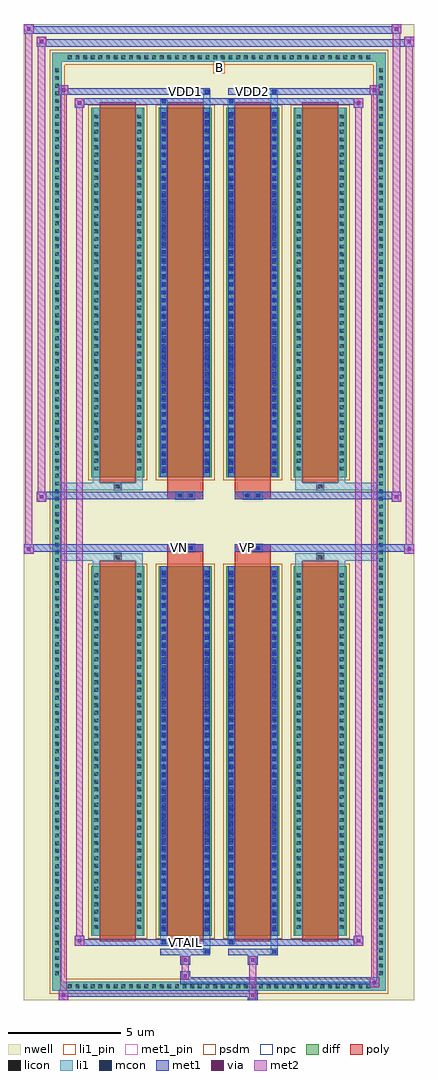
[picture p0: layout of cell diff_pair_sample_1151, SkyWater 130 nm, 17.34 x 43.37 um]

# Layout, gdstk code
import gdstk
lib = gdstk.Library(unit=1e-6, precision=5e-09)
def R(c, l, rs):  # rectangles x0, y0, x1, y1
    for r in rs: c.add(gdstk.rectangle(r[:2], r[2:], *l))
def A(c, l, x, y, w, h, nx, ny, dx, dy):  # array of equal rectangles
    R(c, l, [(x+i*dx, y+j*dy, x+i*dx+w, y+j*dy+h) for i in range(nx) for j in range(ny)])
def P(c, l, *ps):  # polygons
    for p in ps: c.add(gdstk.Polygon(p, *l))
nwell = (64, 20)
diff = (65, 20)
poly = (66, 20)
licon = (66, 44)
li1_pin = (67, 16)
li1 = (67, 20)
mcon = (67, 44)
met1_pin = (68, 16)
met1 = (68, 20)
via = (68, 44)
met2 = (69, 20)
psdm = (94, 20)
npc = (95, 20)

diff_pair_sample_1151 = lib.new_cell('diff_pair_sample_1151')
R(diff_pair_sample_1151, nwell, [(-8.67,-21.25,8.67,22.12), (-5.99,-19.44,-0.01,-0.8), (0.01,-19.44,5.99,-0.8), (-5.99,0.8,-0.01,19.44), (0.01,0.8,5.99,19.44)])
A(diff_pair_sample_1151, diff, -6.835, -20.85, 0.41, 0.41, 40, 2, 0.34, 41.29)
A(diff_pair_sample_1151, diff, -7.4, -20.265, 0.41, 0.41, 1, 119, 0, 0.34)
A(diff_pair_sample_1151, diff, 6.99, -20.265, 0.41, 0.41, 1, 119, 0, 0.34)
A(diff_pair_sample_1151, diff, -5.68, -18.395, 2.36, 16.41, 4, 2, 3, 20.38)
R(diff_pair_sample_1151, diff, [(-6.835,-20.85,6.835,-20.44), (-7.4,-20.265,-6.99,20.265), (6.99,-20.265,7.4,20.265), (-6.835,20.44,6.835,20.85)])
P(diff_pair_sample_1151, diff, [(7.4,20.85),(-7.4,20.85),(-7.4,-20.44),(-6.99,-20.44),(-6.99,20.44),(6.99,20.44),(6.99,-20.44),(-6.99,-20.44),(-7.4,-20.44),(-7.4,-20.85),(7.4,-20.85)])
A(diff_pair_sample_1151, poly, -5.29, -18.645, 1.58, 16.91, 4, 2, 3, 20.38)
R(diff_pair_sample_1151, poly, [(-4.665,-1.735,-4.335,-1.405), (-4.665,-1.735,-4.335,-1.405), (-2.29,-1.735,-0.71,-1.33), (0.71,-1.735,2.29,-1.33), (4.335,-1.735,4.665,-1.405), (4.335,-1.735,4.665,-1.405), (-2.29,-1.33,-0.71,-1), (-1.915,-1.33,-1.585,-1), (-1.415,-1.33,-1.085,-1), (0.71,-1.33,2.29,-1), (1.085,-1.33,1.415,-1), (1.585,-1.33,1.915,-1), (-2.29,1,-0.71,1.33), (-1.915,1,-1.585,1.33), (-1.415,1,-1.085,1.33), (0.71,1,2.29,1.33), (1.085,1,1.415,1.33), (1.585,1,1.915,1.33), (-2.29,1.33,-0.71,1.735), (0.71,1.33,2.29,1.735), (-4.665,1.405,-4.335,1.735), (-4.665,1.405,-4.335,1.735), (4.335,1.405,4.665,1.735), (4.335,1.405,4.665,1.735)])
A(diff_pair_sample_1151, licon, -6.715, -20.73, 0.17, 0.17, 40, 2, 0.34, 41.29)
A(diff_pair_sample_1151, licon, -7.28, -20.145, 0.17, 0.17, 1, 119, 0, 0.34)
A(diff_pair_sample_1151, licon, 7.11, -20.145, 0.17, 0.17, 1, 119, 0, 0.34)
A(diff_pair_sample_1151, licon, -5.54, -18.095, 0.17, 0.17, 1, 47, 0, 0.34)
A(diff_pair_sample_1151, licon, -3.63, -18.095, 0.17, 0.17, 1, 47, 0, 0.34)
A(diff_pair_sample_1151, licon, -2.54, -18.095, 0.17, 0.17, 1, 47, 0, 0.34)
A(diff_pair_sample_1151, licon, -0.63, -18.095, 0.17, 0.17, 1, 47, 0, 0.34)
A(diff_pair_sample_1151, licon, 0.46, -18.095, 0.17, 0.17, 1, 47, 0, 0.34)
A(diff_pair_sample_1151, licon, 2.37, -18.095, 0.17, 0.17, 1, 47, 0, 0.34)
A(diff_pair_sample_1151, licon, 3.46, -18.095, 0.17, 0.17, 1, 47, 0, 0.34)
A(diff_pair_sample_1151, licon, 5.37, -18.095, 0.17, 0.17, 1, 47, 0, 0.34)
A(diff_pair_sample_1151, licon, -5.54, 2.285, 0.17, 0.17, 1, 47, 0, 0.34)
A(diff_pair_sample_1151, licon, -3.63, 2.285, 0.17, 0.17, 1, 47, 0, 0.34)
A(diff_pair_sample_1151, licon, -2.54, 2.285, 0.17, 0.17, 1, 47, 0, 0.34)
A(diff_pair_sample_1151, licon, -0.63, 2.285, 0.17, 0.17, 1, 47, 0, 0.34)
A(diff_pair_sample_1151, licon, 0.46, 2.285, 0.17, 0.17, 1, 47, 0, 0.34)
A(diff_pair_sample_1151, licon, 2.37, 2.285, 0.17, 0.17, 1, 47, 0, 0.34)
A(diff_pair_sample_1151, licon, 3.46, 2.285, 0.17, 0.17, 1, 47, 0, 0.34)
A(diff_pair_sample_1151, licon, 5.37, 2.285, 0.17, 0.17, 1, 47, 0, 0.34)
R(diff_pair_sample_1151, licon, [(-4.585,-1.655,-4.415,-1.485), (4.415,-1.655,4.585,-1.485), (-1.835,-1.25,-1.665,-1.08), (-1.335,-1.25,-1.165,-1.08), (1.165,-1.25,1.335,-1.08), (1.665,-1.25,1.835,-1.08), (-1.835,1.08,-1.665,1.25), (-1.335,1.08,-1.165,1.25), (1.165,1.08,1.335,1.25), (1.665,1.08,1.835,1.25), (-4.585,1.485,-4.415,1.655), (4.415,1.485,4.585,1.655)])
R(diff_pair_sample_1151, li1_pin, [(-0.25,19.94,0.25,20.44)])
A(diff_pair_sample_1151, li1, -6.795, -20.81, 0.33, 0.33, 40, 2, 0.34, 41.29)
A(diff_pair_sample_1151, li1, -7.36, -20.225, 0.33, 0.33, 1, 119, 0, 0.34)
A(diff_pair_sample_1151, li1, 7.03, -20.225, 0.33, 0.33, 1, 119, 0, 0.34)
A(diff_pair_sample_1151, li1, -2.54, -18.195, 0.17, 0.17, 1, 45, 0, 0.36)
A(diff_pair_sample_1151, li1, -0.63, -18.195, 0.17, 0.17, 1, 45, 0, 0.36)
A(diff_pair_sample_1151, li1, 0.46, -18.195, 0.17, 0.17, 1, 45, 0, 0.36)
A(diff_pair_sample_1151, li1, 2.37, -18.195, 0.17, 0.17, 1, 45, 0, 0.36)
A(diff_pair_sample_1151, li1, -5.62, -18.175, 0.33, 0.33, 1, 47, 0, 0.34)
A(diff_pair_sample_1151, li1, -3.71, -18.175, 0.33, 0.33, 1, 47, 0, 0.34)
A(diff_pair_sample_1151, li1, -2.62, -18.175, 0.33, 0.33, 1, 47, 0, 0.34)
A(diff_pair_sample_1151, li1, -0.71, -18.175, 0.33, 0.33, 1, 47, 0, 0.34)
A(diff_pair_sample_1151, li1, 0.38, -18.175, 0.33, 0.33, 1, 47, 0, 0.34)
A(diff_pair_sample_1151, li1, 2.29, -18.175, 0.33, 0.33, 1, 47, 0, 0.34)
A(diff_pair_sample_1151, li1, 3.38, -18.175, 0.33, 0.33, 1, 47, 0, 0.34)
A(diff_pair_sample_1151, li1, 5.29, -18.175, 0.33, 0.33, 1, 47, 0, 0.34)
A(diff_pair_sample_1151, li1, -2.54, 2.185, 0.17, 0.17, 1, 45, 0, 0.36)
A(diff_pair_sample_1151, li1, -0.63, 2.185, 0.17, 0.17, 1, 45, 0, 0.36)
A(diff_pair_sample_1151, li1, 0.46, 2.185, 0.17, 0.17, 1, 45, 0, 0.36)
A(diff_pair_sample_1151, li1, 2.37, 2.185, 0.17, 0.17, 1, 45, 0, 0.36)
A(diff_pair_sample_1151, li1, -5.62, 2.205, 0.33, 0.33, 1, 47, 0, 0.34)
A(diff_pair_sample_1151, li1, -3.71, 2.205, 0.33, 0.33, 1, 47, 0, 0.34)
A(diff_pair_sample_1151, li1, -2.62, 2.205, 0.33, 0.33, 1, 47, 0, 0.34)
A(diff_pair_sample_1151, li1, -0.71, 2.205, 0.33, 0.33, 1, 47, 0, 0.34)
A(diff_pair_sample_1151, li1, 0.38, 2.205, 0.33, 0.33, 1, 47, 0, 0.34)
A(diff_pair_sample_1151, li1, 2.29, 2.205, 0.33, 0.33, 1, 47, 0, 0.34)
A(diff_pair_sample_1151, li1, 3.38, 2.205, 0.33, 0.33, 1, 47, 0, 0.34)
A(diff_pair_sample_1151, li1, 5.29, 2.205, 0.33, 0.33, 1, 47, 0, 0.34)
R(diff_pair_sample_1151, li1, [(-7.4,-20.85,-6.99,-20.44), (-7.4,-20.85,-6.99,-20.44), (-6.99,-20.85,6.99,-20.44), (6.99,-20.85,7.4,-20.44), (6.99,-20.85,7.4,-20.44), (-7.4,-20.44,-6.99,20.44), (6.99,-20.44,7.4,20.44), (-0.71,-19.2,-0.38,-18.395), (-0.63,-19.2,-0.46,-19.03), (2.29,-19.2,2.62,-18.395), (2.37,-19.2,2.54,-19.03), (-2.62,-18.77,-2.29,-18.395), (-2.54,-18.77,-2.37,-18.6), (0.38,-18.77,0.71,-18.395), (0.46,-18.77,0.63,-18.6), (-5.62,-18.395,-5.29,-1.985), (-3.71,-18.395,-3.38,-1.985), (-2.62,-18.395,-2.29,-1.985), (-0.71,-18.395,-0.38,-1.985), (0.38,-18.395,0.71,-1.985), (2.29,-18.395,2.62,-1.985), (3.38,-18.395,3.71,-1.985), (5.29,-18.395,5.62,-1.985), (-2.54,-18.195,-2.37,-2.185), (-0.63,-18.195,-0.46,-2.185), (0.46,-18.195,0.63,-2.185), (2.37,-18.195,2.54,-2.185), (-5.62,-1.985,-5.29,-1.405), (-3.71,-1.985,-3.38,-1.405), (3.38,-1.985,3.71,-1.405), (5.29,-1.985,5.62,-1.405), (-7.4,-1.735,-4.665,-1.405), (-5.62,-1.735,-4.665,-1.405), (-4.665,-1.735,-4.335,-1.405), (-4.335,-1.735,-3.38,-1.405), (3.38,-1.735,4.335,-1.405), (4.335,-1.735,4.665,-1.405), (4.335,-1.735,7.4,-1.405), (4.665,-1.735,5.62,-1.405), (-1.915,-1.33,-1.585,-1), (-1.415,-1.33,-1.085,-1), (1.085,-1.33,1.415,-1), (1.585,-1.33,1.915,-1), (-1.915,1,-1.585,1.33), (-1.415,1,-1.085,1.33), (1.085,1,1.415,1.33), (1.585,1,1.915,1.33), (-7.4,1.405,-4.665,1.735), (-5.62,1.405,-4.665,1.735), (-5.62,1.405,-5.29,1.985), (-4.665,1.405,-4.335,1.735), (-4.335,1.405,-3.38,1.735), (-3.71,1.405,-3.38,1.985), (3.38,1.405,4.335,1.735), (3.38,1.405,3.71,1.985), (4.335,1.405,4.665,1.735), (4.335,1.405,7.4,1.735), (4.665,1.405,5.62,1.735), (5.29,1.405,5.62,1.985), (-5.62,1.985,-5.29,18.395), (-3.71,1.985,-3.38,18.395), (-2.62,1.985,-2.29,18.395), (-0.71,1.985,-0.38,18.395), (0.38,1.985,0.71,18.395), (2.29,1.985,2.62,18.395), (3.38,1.985,3.71,18.395), (5.29,1.985,5.62,18.395), (-2.54,2.185,-2.37,18.195), (-0.63,2.185,-0.46,18.195), (0.46,2.185,0.63,18.195), (2.37,2.185,2.54,18.195), (-2.62,18.395,-2.29,18.77), (-0.71,18.395,-0.38,19.2), (0.38,18.395,0.71,18.77), (2.29,18.395,2.62,19.2), (-2.54,18.6,-2.37,18.77), (0.46,18.6,0.63,18.77), (-0.63,19.03,-0.46,19.2), (2.37,19.03,2.54,19.2), (-7.4,20.44,-6.99,20.85), (-7.4,20.44,-6.99,20.85), (-6.99,20.44,6.99,20.85), (6.99,20.44,7.4,20.85), (6.99,20.44,7.4,20.85)])
A(diff_pair_sample_1151, mcon, -2.54, -18.195, 0.17, 0.17, 1, 45, 0, 0.36)
A(diff_pair_sample_1151, mcon, -0.63, -18.195, 0.17, 0.17, 1, 45, 0, 0.36)
A(diff_pair_sample_1151, mcon, 0.46, -18.195, 0.17, 0.17, 1, 45, 0, 0.36)
A(diff_pair_sample_1151, mcon, 2.37, -18.195, 0.17, 0.17, 1, 45, 0, 0.36)
A(diff_pair_sample_1151, mcon, -2.54, 2.185, 0.17, 0.17, 1, 45, 0, 0.36)
A(diff_pair_sample_1151, mcon, -0.63, 2.185, 0.17, 0.17, 1, 45, 0, 0.36)
A(diff_pair_sample_1151, mcon, 0.46, 2.185, 0.17, 0.17, 1, 45, 0, 0.36)
A(diff_pair_sample_1151, mcon, 2.37, 2.185, 0.17, 0.17, 1, 45, 0, 0.36)
R(diff_pair_sample_1151, mcon, [(-0.63,-19.2,-0.46,-19.03), (2.37,-19.2,2.54,-19.03), (-2.54,-18.77,-2.37,-18.6), (0.46,-18.77,0.63,-18.6), (-1.835,-1.25,-1.665,-1.08), (-1.335,-1.25,-1.165,-1.08), (1.165,-1.25,1.335,-1.08), (1.665,-1.25,1.835,-1.08), (-1.835,1.08,-1.665,1.25), (-1.335,1.08,-1.165,1.25), (1.165,1.08,1.335,1.25), (1.665,1.08,1.835,1.25), (-2.54,18.6,-2.37,18.77), (0.46,18.6,0.63,18.77), (-0.63,19.03,-0.46,19.2), (2.37,19.03,2.54,19.2)])
R(diff_pair_sample_1151, met1_pin, [(-1.635,-18.81,-1.365,-18.54), (-1.885,-1.29,-1.615,-1.02), (1.115,-1.29,1.385,-1.02), (-1.635,18.99,-1.365,19.26), (1.365,18.99,1.635,19.26)])
A(diff_pair_sample_1151, met1, -2.6, -18.255, 0.29, 0.29, 1, 45, 0, 0.36)
A(diff_pair_sample_1151, met1, -0.69, -18.255, 0.29, 0.29, 1, 45, 0, 0.36)
A(diff_pair_sample_1151, met1, 0.4, -18.255, 0.29, 0.29, 1, 45, 0, 0.36)
A(diff_pair_sample_1151, met1, 2.31, -18.255, 0.29, 0.29, 1, 45, 0, 0.36)
A(diff_pair_sample_1151, met1, -2.6, 2.125, 0.29, 0.29, 1, 45, 0, 0.36)
A(diff_pair_sample_1151, met1, -0.69, 2.125, 0.29, 0.29, 1, 45, 0, 0.36)
A(diff_pair_sample_1151, met1, 0.4, 2.125, 0.29, 0.29, 1, 45, 0, 0.36)
A(diff_pair_sample_1151, met1, 2.31, 2.125, 0.29, 0.29, 1, 45, 0, 0.36)
R(diff_pair_sample_1151, met1, [(-7.13,-21.25,-6.7,-20.82), (1.285,-21.25,1.715,-20.82), (-7.13,-21.11,1.715,-20.82), (6.7,-20.68,7.13,-20.25), (-1.715,-20.54,7.13,-20.25), (-1.715,-20.4,-1.285,-19.97), (-1.715,-19.69,-1.285,-19.26), (1.285,-19.69,1.715,-19.26), (-2.6,-19.26,-0.4,-18.97), (-0.69,-19.26,-0.4,-18.97), (0.4,-19.26,2.6,-18.97), (2.31,-19.26,2.6,-18.97), (-6.42,-18.83,-5.99,-18.4), (-6.42,-18.83,-2.6,-18.54), (-2.6,-18.83,-2.31,-18.54), (-2.6,-18.83,-0.4,-18.54), (-0.4,-18.83,0.4,-18.54), (0.4,-18.83,0.69,-18.54), (0.4,-18.83,2.6,-18.54), (2.6,-18.83,6.42,-18.54), (5.99,-18.83,6.42,-18.4), (-2.6,-18.395,-2.31,-1.985), (-0.69,-18.395,-0.4,-1.985), (0.4,-18.395,0.69,-1.985), (2.31,-18.395,2.6,-1.985), (-8.67,-1.43,-8.24,-1), (8.24,-1.43,8.67,-1), (-8.67,-1.33,-0.71,-1), (-2.29,-1.33,-0.71,-1), (0.71,-1.33,2.29,-1), (0.71,-1.33,8.67,-1), (-1.895,-1.31,-1.605,-1.02), (-1.395,-1.31,-1.105,-1.02), (1.105,-1.31,1.395,-1.02), (1.605,-1.31,1.895,-1.02), (-8.1,0.9,-7.67,1.33), (7.67,0.9,8.1,1.33), (-8.1,1,-2.29,1.33), (-2.29,1,-0.71,1.33), (0.71,1,2.29,1.33), (2.29,1,8.1,1.33), (-1.895,1.02,-1.605,1.31), (-1.395,1.02,-1.105,1.31), (1.105,1.02,1.395,1.31), (1.605,1.02,1.895,1.31), (-2.6,1.985,-2.31,18.395), (-0.69,1.985,-0.4,18.395), (0.4,1.985,0.69,18.395), (2.31,1.985,2.6,18.395), (-6.42,18.4,-5.99,18.83), (5.99,18.4,6.42,18.83), (-6.42,18.54,-2.6,18.83), (-2.6,18.54,-2.31,18.83), (-2.6,18.54,-0.4,18.83), (-0.4,18.54,0.4,18.83), (0.4,18.54,0.69,18.83), (0.4,18.54,2.6,18.83), (2.6,18.54,6.42,18.83), (-7.13,18.97,-6.7,19.4), (-7.13,18.97,-2.6,19.26), (-2.6,18.97,-0.4,19.26), (-0.69,18.97,-0.4,19.26), (0.4,18.97,2.6,19.26), (2.31,18.97,2.6,19.26), (2.6,18.97,7.13,19.26), (6.7,18.97,7.13,19.4), (-8.1,21.12,-7.67,21.55), (-8.1,21.12,-5.99,21.45), (-5.99,21.12,5.99,21.45), (5.99,21.12,8.67,21.45), (8.24,21.12,8.67,21.55), (-8.67,21.69,-8.24,22.12), (-8.67,21.69,-5.99,22.02), (-5.99,21.69,5.99,22.02), (5.99,21.69,8.1,22.02), (7.67,21.69,8.1,22.12)])
R(diff_pair_sample_1151, via, [(-6.99,-21.11,-6.84,-20.96), (1.425,-21.11,1.575,-20.96), (6.84,-20.54,6.99,-20.39), (-1.575,-20.26,-1.425,-20.11), (-1.575,-19.55,-1.425,-19.4), (1.425,-19.55,1.575,-19.4), (-6.28,-18.69,-6.13,-18.54), (6.13,-18.69,6.28,-18.54), (-8.53,-1.29,-8.38,-1.14), (8.38,-1.29,8.53,-1.14), (-7.96,1.04,-7.81,1.19), (7.81,1.04,7.96,1.19), (-6.28,18.54,-6.13,18.69), (6.13,18.54,6.28,18.69), (-6.99,19.11,-6.84,19.26), (6.84,19.11,6.99,19.26), (-7.96,21.26,-7.81,21.41), (8.38,21.26,8.53,21.41), (-8.53,21.83,-8.38,21.98), (7.81,21.83,7.96,21.98)])
R(diff_pair_sample_1151, met2, [(-7.13,-21.25,-6.7,-20.82), (-7.06,-21.25,-6.77,19.4), (-6.77,-21.25,-6.7,-20.82), (-7.08,-21.2,-6.75,-20.87), (1.335,-21.2,1.665,-20.87), (1.335,-20.87,1.665,-19.64), (6.7,-20.68,7.13,-20.25), (6.77,-20.68,7.06,19.4), (7.06,-20.68,7.13,-20.25), (6.75,-20.63,7.08,-20.3), (-1.665,-20.35,-1.335,-20.02), (-1.665,-20.02,-1.335,-19.64), (-1.665,-19.64,-1.335,-19.31), (1.335,-19.64,1.665,-19.31), (-6.42,-18.83,-5.99,-18.4), (-6.35,-18.83,-6.06,18.83), (-6.06,-18.83,-5.99,-18.4), (5.99,-18.83,6.42,-18.4), (6.06,-18.83,6.35,18.83), (6.35,-18.83,6.42,-18.4), (-6.37,-18.78,-6.04,-18.45), (6.04,-18.78,6.37,-18.45), (-8.67,-1.43,-8.24,-1), (-8.62,-1.43,-8.29,22.12), (-8.29,-1.43,-8.24,-1), (8.24,-1.43,8.67,-1), (8.29,-1.43,8.62,21.55), (8.62,-1.43,8.67,-1), (-8.62,-1.38,-8.29,-1.05), (8.29,-1.38,8.62,-1.05), (-8.1,0.9,-7.67,1.33), (-8.05,0.9,-7.72,21.55), (-7.72,0.9,-7.67,1.33), (7.67,0.9,8.1,1.33), (7.72,0.9,8.05,22.12), (8.05,0.9,8.1,1.33), (-8.05,0.95,-7.72,1.28), (7.72,0.95,8.05,1.28), (-6.42,18.4,-5.99,18.83), (-6.06,18.4,-5.99,18.83), (5.99,18.4,6.42,18.83), (6.35,18.4,6.42,18.83), (-6.37,18.45,-6.04,18.78), (6.04,18.45,6.37,18.78), (-7.13,18.97,-6.7,19.4), (-6.77,18.97,-6.7,19.4), (6.7,18.97,7.13,19.4), (7.06,18.97,7.13,19.4), (-7.08,19.02,-6.75,19.35), (6.75,19.02,7.08,19.35), (-8.1,21.12,-7.67,21.55), (-7.72,21.12,-7.67,21.55), (8.24,21.12,8.67,21.55), (8.62,21.12,8.67,21.55), (-8.05,21.17,-7.72,21.5), (8.29,21.17,8.62,21.5), (-8.67,21.69,-8.24,22.12), (-8.29,21.69,-8.24,22.12), (7.67,21.69,8.1,22.12), (8.05,21.69,8.1,22.12), (-8.62,21.74,-8.29,22.07), (7.72,21.74,8.05,22.07)])
A(diff_pair_sample_1151, psdm, -5.81, -18.525, 2.62, 16.67, 4, 2, 3, 20.38)
P(diff_pair_sample_1151, psdm, [(7.53,20.98),(-7.53,20.98),(-7.53,-20.31),(-6.86,-20.31),(-6.86,20.31),(6.86,20.31),(6.86,-20.31),(-6.86,-20.31),(-7.53,-20.31),(-7.53,-20.98),(7.53,-20.98)])
R(diff_pair_sample_1151, npc, [(-4.685,-1.755,-4.315,-1.385), (4.315,-1.755,4.685,-1.385), (-1.935,-1.35,-1.565,-0.98), (-1.935,-1.35,-1.065,-0.98), (-1.935,-1.35,-1.065,-0.98), (-1.435,-1.35,-1.065,-0.98), (1.065,-1.35,1.435,-0.98), (1.065,-1.35,1.935,-0.98), (1.065,-1.35,1.935,-0.98), (1.565,-1.35,1.935,-0.98), (-1.935,0.98,-1.565,1.35), (-1.935,0.98,-1.065,1.35), (-1.935,0.98,-1.065,1.35), (-1.435,0.98,-1.065,1.35), (1.065,0.98,1.435,1.35), (1.065,0.98,1.935,1.35), (1.065,0.98,1.935,1.35), (1.565,0.98,1.935,1.35), (-4.685,1.385,-4.315,1.755), (4.315,1.385,4.685,1.755)])
diff_pair_sample_1151.add(gdstk.Label('VTAIL', (-1.5,-18.675), layer=68, texttype=5))
diff_pair_sample_1151.add(gdstk.Label('VN', (-1.75,-1.155), layer=68, texttype=5))
diff_pair_sample_1151.add(gdstk.Label('VP', (1.25,-1.155), layer=68, texttype=5))
diff_pair_sample_1151.add(gdstk.Label('B', (0,20.19), layer=67, texttype=5))
diff_pair_sample_1151.add(gdstk.Label('VDD2', (1.5,19.125), layer=68, texttype=5))
diff_pair_sample_1151.add(gdstk.Label('VDD1', (-1.5,19.125), layer=68, texttype=5))

lib.write_gds('diff_pair_sample_1151.gds')
